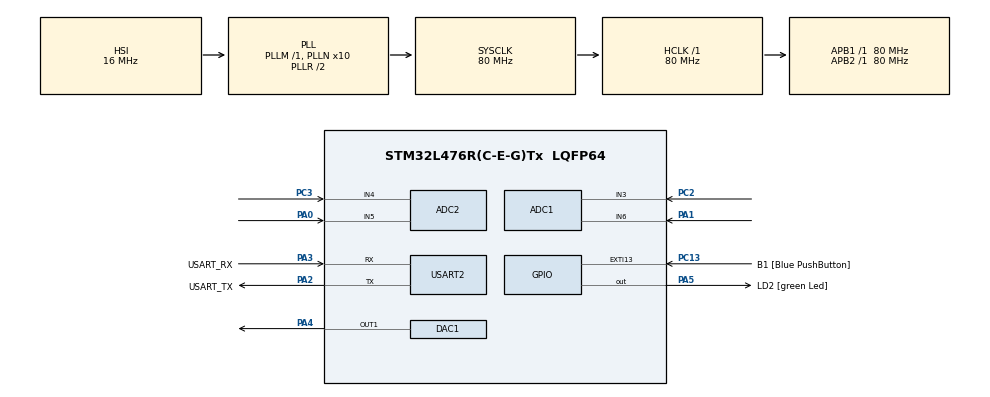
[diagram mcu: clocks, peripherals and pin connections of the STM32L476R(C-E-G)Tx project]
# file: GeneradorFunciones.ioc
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ADC1.Channel-2\#ChannelRegularConversion=ADC_CHANNEL_6
ADC1.ContinuousConvMode=ENABLE
ADC1.DMAContinuousRequests=ENABLE
ADC1.EOCSelection=ADC_EOC_SEQ_CONV
ADC1.NbrOfConversion=1
ADC1.NbrOfConversionFlag=1
ADC1.OffsetNumber-2\#ChannelRegularConversion=ADC_OFFSET_NONE
ADC1.Rank-2\#ChannelRegularConversion=1
ADC1.SamplingTime-2\#ChannelRegularConversion=ADC_SAMPLETIME_640CYCLES_5
ADC1.master=1
ADC2.Channel-2\#ChannelRegularConversion=ADC_CHANNEL_5
ADC2.ContinuousConvMode=ENABLE
ADC2.DMAContinuousRequests=ENABLE
ADC2.EOCSelection=ADC_EOC_SEQ_CONV
ADC2.NbrOfConversion=1
ADC2.NbrOfConversionFlag=1
ADC2.OffsetNumber-2\#ChannelRegularConversion=ADC_OFFSET_NONE
ADC2.Rank-2\#ChannelRegularConversion=1
ADC2.SamplingTime-2\#ChannelRegularConversion=ADC_SAMPLETIME_640CYCLES_5
DAC1.DAC_Trigger-DAC_OUT1=DAC_TRIGGER_T2_TRGO
DAC1.WaveGeneration-DAC_OUT1=DISABLE
Dma.ADC1.1.Direction=DMA_PERIPH_TO_MEMORY
Dma.ADC1.1.Instance=DMA1_Channel1
Dma.ADC1.1.MemDataAlignment=DMA_MDATAALIGN_WORD
Dma.ADC1.1.MemInc=DMA_MINC_ENABLE
Dma.ADC1.1.Mode=DMA_CIRCULAR
Dma.ADC1.1.PeriphDataAlignment=DMA_PDATAALIGN_WORD
Dma.ADC1.1.PeriphInc=DMA_PINC_DISABLE
Dma.ADC1.1.Priority=DMA_PRIORITY_LOW
Dma.ADC2.2.Direction=DMA_PERIPH_TO_MEMORY
Dma.ADC2.2.Instance=DMA1_Channel2
Dma.ADC2.2.MemDataAlignment=DMA_MDATAALIGN_WORD
Dma.ADC2.2.MemInc=DMA_MINC_ENABLE
Dma.ADC2.2.Mode=DMA_CIRCULAR
Dma.ADC2.2.PeriphDataAlignment=DMA_PDATAALIGN_WORD
Dma.ADC2.2.PeriphInc=DMA_PINC_DISABLE
Dma.ADC2.2.Priority=DMA_PRIORITY_LOW
Dma.DAC_CH1.0.Direction=DMA_MEMORY_TO_PERIPH
Dma.DAC_CH1.0.Instance=DMA1_Channel3
Dma.DAC_CH1.0.MemDataAlignment=DMA_MDATAALIGN_WORD
Dma.DAC_CH1.0.MemInc=DMA_MINC_ENABLE
Dma.DAC_CH1.0.Mode=DMA_CIRCULAR
Dma.DAC_CH1.0.PeriphDataAlignment=DMA_PDATAALIGN_WORD
Dma.DAC_CH1.0.PeriphInc=DMA_PINC_DISABLE
Dma.DAC_CH1.0.Priority=DMA_PRIORITY_LOW
Dma.Request0=DAC_CH1
Dma.Request1=ADC1
Dma.Request2=ADC2
Mcu.Family=STM32L4
Mcu.Name=STM32L476R(C-E-G)Tx
Mcu.Package=LQFP64
NVIC.DMA1_Channel1_IRQn=true\:0\:0\:false\:false\:true\:false\:true
NVIC.DMA1_Channel2_IRQn=true\:0\:0\:false\:false\:true\:false\:true
NVIC.DMA1_Channel3_IRQn=true\:0\:0\:false\:false\:true\:false\:true
NVIC.PriorityGroup=NVIC_PRIORITYGROUP_4
PA0.Signal=ADCx_IN5
PA1.Signal=ADCx_IN6
PA13\ (JTMS-SWDIO).GPIO_Label=TMS
PA13\ (JTMS-SWDIO).Mode=Serial_Wire
PA13\ (JTMS-SWDIO).Signal=SYS_JTMS-SWDIO
PA14\ (JTCK-SWCLK).GPIO_Label=TCK
PA14\ (JTCK-SWCLK).Mode=Serial_Wire
PA14\ (JTCK-SWCLK).Signal=SYS_JTCK-SWCLK
PA2.GPIO_Label=USART_TX
PA2.GPIO_Mode=GPIO_MODE_AF_PP
PA2.GPIO_PuPd=GPIO_NOPULL
PA2.GPIO_Speed=GPIO_SPEED_FREQ_VERY_HIGH
PA2.Mode=Asynchronous
PA2.Signal=USART2_TX
PA3.GPIO_Label=USART_RX
PA3.GPIO_Mode=GPIO_MODE_AF_PP
PA3.GPIO_PuPd=GPIO_NOPULL
PA3.GPIO_Speed=GPIO_SPEED_FREQ_VERY_HIGH
PA3.Mode=Asynchronous
PA3.Signal=USART2_RX
PA4.Signal=COMP_DAC11_group
PA5.GPIO_Label=LD2 [green Led]
PA5.GPIO_ModeDefaultOutputPP=GPIO_MODE_OUTPUT_PP
PA5.GPIO_PuPd=GPIO_NOPULL
PA5.GPIO_Speed=GPIO_SPEED_FREQ_LOW
PA5.Signal=GPIO_Output
PB3\ (JTDO-TRACESWO).GPIO_Label=SWO
PB3\ (JTDO-TRACESWO).Signal=SYS_JTDO-SWO
PC13.GPIO_Label=B1 [Blue PushButton]
PC13.GPIO_ModeDefaultEXTI=GPIO_MODE_IT_FALLING
PC13.GPIO_PuPd=GPIO_NOPULL
PC13.Signal=GPXTI13
PC14-OSC32_IN\ (PC14).Mode=LSE-External-Oscillator
PC14-OSC32_IN\ (PC14).Signal=RCC_OSC32_IN
PC15-OSC32_OUT\ (PC15).Mode=LSE-External-Oscillator
PC15-OSC32_OUT\ (PC15).Signal=RCC_OSC32_OUT
PC2.Signal=ADCx_IN3
PC3.Signal=ADCx_IN4
PH0-OSC_IN\ (PH0).Signal=RCC_OSC_IN
PH1-OSC_OUT\ (PH1).Signal=RCC_OSC_OUT
ProjectManager.HeapSize=0x200
ProjectManager.StackSize=0x400
ProjectManager.TargetToolchain=TrueSTUDIO
RCC.ADCFreq_Value=64000000
RCC.AHBFreq_Value=80000000
RCC.APB1Freq_Value=80000000
RCC.APB1TimFreq_Value=80000000
RCC.APB2Freq_Value=80000000
RCC.APB2TimFreq_Value=80000000
RCC.CortexFreq_Value=80000000
RCC.HCLKFreq_Value=80000000
RCC.HSE_VALUE=8000000
RCC.HSI_VALUE=16000000
RCC.MSI_VALUE=4000000
RCC.PLLN=10
RCC.PLLSourceVirtual=RCC_PLLSOURCE_HSI
RCC.PREFETCH_ENABLE=1
RCC.SYSCLKFreq_VALUE=80000000
RCC.SYSCLKSource=RCC_SYSCLKSOURCE_PLLCLK
RCC.USBFreq_Value=64000000
RCC.VCOOutputFreq_Value=160000000
SH.ADCx_IN3.0=ADC1_IN3,IN3-Single-Ended
SH.ADCx_IN4.0=ADC2_IN4,IN4-Single-Ended
SH.ADCx_IN5.0=ADC2_IN5,IN5-Single-Ended
SH.ADCx_IN6.0=ADC1_IN6,IN6-Single-Ended
SH.COMP_DAC11_group.0=DAC1_OUT1,DAC_OUT1
TIM2.Channel-Output\ Compare1\ No\ Output=TIM_CHANNEL_1
TIM2.Period=999999
TIM2.Prescaler=79
TIM2.TIM_MasterOutputTrigger=TIM_TRGO_UPDATE
USART2.VirtualMode-Asynchronous=VM_ASYNC
VP_TIM2_VS_ClockSourceINT.Mode=Internal
VP_TIM2_VS_no_output1.Mode=Output Compare1 No Output
board=NUCLEO-L476RG

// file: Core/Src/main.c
/* USER CODE BEGIN Header */
/**
  ******************************************************************************
  * @file           : main.c
  * @brief          : Main program body
  ******************************************************************************
  * @attention
  *
  * <h2><center>&copy; Copyright (c) 2020 STMicroelectronics.
  * All rights reserved.</center></h2>
  *
  * This software component is licensed by ST under BSD 3-Clause license,
  * the "License"; You may not use this file except in compliance with the
  * License. You may obtain a copy of the License at:
  *                        opensource.org/licenses/BSD-3-Clause
  *
  ******************************************************************************
  */
/* USER CODE END Header */

#include "main.h"
#include "adc.h"
#include "dac.h"
#include "dma.h"
#include "tim.h"
#include "usart.h"
#include "gpio.h"

/* USER CODE BEGIN Includes */
#include "math.h"
/* USER CODE END Includes */

/* USER CODE BEGIN PD */
#define	N	16
#define	F	150
/* USER CODE END PD */

/* USER CODE BEGIN PV */
	uint32_t	DAC_Buffer[N];
	uint32_t	TimerData;
	uint32_t	ADC_Buffer[1];
	uint32_t	ADC2_Buffer[1];
	uint32_t    Option;
/* USER CODE END PV */

void SystemClock_Config(void);

int main(void)
{
  /* USER CODE BEGIN 1 */
	Option = 0;
  /* USER CODE END 1 */

  /* MCU Configuration--------------------------------------------------------*/

  /* Reset of all peripherals, Initializes the Flash interface and the Systick. */
  HAL_Init();

  /* Configure the system clock */
  SystemClock_Config();

  /* Initialize all configured peripherals */
  MX_GPIO_Init();
  MX_DMA_Init();
  MX_DAC1_Init();
  MX_TIM2_Init();
  MX_USART2_UART_Init();
  MX_ADC1_Init();
  MX_ADC2_Init();
  /* USER CODE BEGIN 2 */
  //ADC
  HAL_ADCEx_Calibration_Start(&hadc1, ADC_SINGLE_ENDED);
  HAL_ADCEx_Calibration_Start(&hadc2, ADC_SINGLE_ENDED);
  HAL_ADC_Start_DMA(&hadc1, (uint32_t *)ADC_Buffer, 1);
  HAL_ADC_Start_DMA(&hadc2, (uint32_t *)ADC2_Buffer, 1);

//    //Funcion rampa
    /*for(int i=0; i<N; i++) {
    	if(i == 0) {
    		DAC_Buffer[i] = 2048;
    	} else {
    		DAC_Buffer[i] = DAC_Buffer[i - 1] + 2048/N;
    	}
    }
    HAL_TIM_Base_Start(&htim2);
    TimerData=(uint32_t)(80000000/(N*F));
    TIM2->ARR=TimerData;
    HAL_DAC_Start_DMA(&hdac1,DAC_CHANNEL_1,(uint32_t *)DAC_Buffer,N,DAC_ALIGN_12B_R);*/

//  //Funcion cuadrada
 /* for(int i=0; i<N; i++) {
	  if(i <= N/2-1) {
		  DAC_Buffer[i] = 2048;
	  } else {
		  DAC_Buffer[i] = 4000;
	  }
  }
  HAL_TIM_Base_Start(&htim2);
  TimerData=(uint32_t)(80000000/(N*F));
  TIM2->ARR=TimerData;
  HAL_DAC_Start_DMA(&hdac1,DAC_CHANNEL_1,(uint32_t *)DAC_Buffer,N,DAC_ALIGN_12B_R);*/

//  //Funcion senoidal
  /*for(int i=0; i<N; i++) {
	  DAC_Buffer[i]=(uint32_t)(2048+2047*sinf(2*M_PI*i/N));
  }
  HAL_TIM_Base_Start(&htim2);
  TimerData=(uint32_t)(80000000/(N*F));
  TIM2->ARR=TimerData;
  HAL_DAC_Start_DMA(&hdac1,DAC_CHANNEL_1,(uint32_t *)DAC_Buffer,N,DAC_ALIGN_12B_R);*/

//  //Funcion triangular
//  HAL_TIM_Base_Start(&htim2);
//  TimerData=(uint32_t)(80000000/(N*F));
//  TIM2->ARR=TimerData;
//  HAL_DAC_Start(&hdac1,DAC_CHANNEL_1);
//  HAL_DACEx_TriangleWaveGenerate(&hdac1,DAC_CHANNEL_1,DAC_TRIANGLEAMPLITUDE_31);

  //Funcion triangulo test

	/*for(int i=0; i<N; i++) {
		if(i == 0) {
			DAC_Buffer[i] = 2048;
		} else if(i >= 1 && i < N/2) {
			DAC_Buffer[i] = DAC_Buffer[i - 1] + (2048/N)*2;
		} else if(i == N/2) {
			DAC_Buffer[i] = 4095;
		} else {
			DAC_Buffer[i] = DAC_Buffer[i - 1] - (2048/N)*2;
		}
	}
    HAL_TIM_Base_Start(&htim2);
    TimerData=(uint32_t)(80000000/(N*F));
    TIM2->ARR=TimerData;
    HAL_DAC_Start_DMA(&hdac1,DAC_CHANNEL_1,(uint32_t *)DAC_Buffer,N,DAC_ALIGN_12B_R);*/

  /* USER CODE END 2 */

  /* Infinite loop */
  /* USER CODE BEGIN WHILE */

  while (1)
  {
	  if(Option == 4){
		  Option = 0;
	  }
	  if(HAL_GPIO_ReadPin(GPIOC, B1_Pin)){
	  	  HAL_GPIO_WritePin(LD2_GPIO_Port, LD2_Pin, GPIO_PIN_RESET);
	    }
	  else{
		  HAL_GPIO_WritePin(LD2_GPIO_Port, LD2_Pin, GPIO_PIN_SET);
		  HAL_Delay(500);
		  Option = Option + 1;

	  }

	  //cambiar el tipo de grafica
	  switch (Option) {
		case 0:
			Rampa();
			break;
		case 1:
			Cuadrada();
			break;
		case 2:
			Senoidal();
			break;
		case 3:
			Triangular();
			break;
		default:
			break;
	}
    /* USER CODE END WHILE */

  }
}

void SystemClock_Config(void)
{
  RCC_OscInitTypeDef RCC_OscInitStruct = {0};
  RCC_ClkInitTypeDef RCC_ClkInitStruct = {0};
  RCC_PeriphCLKInitTypeDef PeriphClkInit = {0};

  /** Initializes the CPU, AHB and APB busses clocks
  */
  RCC_OscInitStruct.OscillatorType = RCC_OSCILLATORTYPE_HSI;
  RCC_OscInitStruct.HSIState = RCC_HSI_ON;
  RCC_OscInitStruct.HSICalibrationValue = RCC_HSICALIBRATION_DEFAULT;
  RCC_OscInitStruct.PLL.PLLState = RCC_PLL_ON;
  RCC_OscInitStruct.PLL.PLLSource = RCC_PLLSOURCE_HSI;
  RCC_OscInitStruct.PLL.PLLM = 1;
  RCC_OscInitStruct.PLL.PLLN = 10;
  RCC_OscInitStruct.PLL.PLLP = RCC_PLLP_DIV7;
  RCC_OscInitStruct.PLL.PLLQ = RCC_PLLQ_DIV2;
  RCC_OscInitStruct.PLL.PLLR = RCC_PLLR_DIV2;
  if (HAL_RCC_OscConfig(&RCC_OscInitStruct) != HAL_OK)
  {
    Error_Handler();
  }
  /** Initializes the CPU, AHB and APB busses clocks
  */
  RCC_ClkInitStruct.ClockType = RCC_CLOCKTYPE_HCLK|RCC_CLOCKTYPE_SYSCLK
                              |RCC_CLOCKTYPE_PCLK1|RCC_CLOCKTYPE_PCLK2;
  RCC_ClkInitStruct.SYSCLKSource = RCC_SYSCLKSOURCE_PLLCLK;
  RCC_ClkInitStruct.AHBCLKDivider = RCC_SYSCLK_DIV1;
  RCC_ClkInitStruct.APB1CLKDivider = RCC_HCLK_DIV1;
  RCC_ClkInitStruct.APB2CLKDivider = RCC_HCLK_DIV1;

  if (HAL_RCC_ClockConfig(&RCC_ClkInitStruct, FLASH_LATENCY_4) != HAL_OK)
  {
    Error_Handler();
  }
  PeriphClkInit.PeriphClockSelection = RCC_PERIPHCLK_USART2|RCC_PERIPHCLK_ADC;
  PeriphClkInit.Usart2ClockSelection = RCC_USART2CLKSOURCE_PCLK1;
  PeriphClkInit.AdcClockSelection = RCC_ADCCLKSOURCE_PLLSAI1;
  PeriphClkInit.PLLSAI1.PLLSAI1Source = RCC_PLLSOURCE_HSI;
  PeriphClkInit.PLLSAI1.PLLSAI1M = 1;
  PeriphClkInit.PLLSAI1.PLLSAI1N = 8;
  PeriphClkInit.PLLSAI1.PLLSAI1P = RCC_PLLP_DIV7;
  PeriphClkInit.PLLSAI1.PLLSAI1Q = RCC_PLLQ_DIV2;
  PeriphClkInit.PLLSAI1.PLLSAI1R = RCC_PLLR_DIV2;
  PeriphClkInit.PLLSAI1.PLLSAI1ClockOut = RCC_PLLSAI1_ADC1CLK;
  if (HAL_RCCEx_PeriphCLKConfig(&PeriphClkInit) != HAL_OK)
  {
    Error_Handler();
  }
  /** Configure the main internal regulator output voltage
  */
  if (HAL_PWREx_ControlVoltageScaling(PWR_REGULATOR_VOLTAGE_SCALE1) != HAL_OK)
  {
    Error_Handler();
  }
}

/* USER CODE BEGIN 4 */

//funcion rampa
void Rampa(){
	for(int i=0; i<N; i++) {
	    	if(i == 0) {
	    		DAC_Buffer[i] = 2048;
	    	} else {
	    		DAC_Buffer[i] = DAC_Buffer[i - 1] + 2048/N;
	    	}
	    }
	    HAL_TIM_Base_Start(&htim2);
	    TimerData=(uint32_t)(80000000/(N*F));
	    TIM2->ARR=TimerData;
	    HAL_DAC_Start_DMA(&hdac1,DAC_CHANNEL_1,(uint32_t *)DAC_Buffer,N,DAC_ALIGN_12B_R);
}

//funcion cuadrada
void Cuadrada(){
	 for(int i=0; i<N; i++) {
		  if(i <= N/2-1) {
			  DAC_Buffer[i] = 2048;
		  } else {
			  DAC_Buffer[i] = 4000;
		  }
	  }
	  HAL_TIM_Base_Start(&htim2);
	  TimerData=(uint32_t)(80000000/(N*F));
	  TIM2->ARR=TimerData;
	  HAL_DAC_Start_DMA(&hdac1,DAC_CHANNEL_1,(uint32_t *)DAC_Buffer,N,DAC_ALIGN_12B_R);
}

//funcion senoidal
void Senoidal(){
	for(int i=0; i<N; i++) {
		  DAC_Buffer[i]=(uint32_t)(2048+2047*sinf(2*M_PI*i/N));
	  }
	  HAL_TIM_Base_Start(&htim2);
	  TimerData=(uint32_t)(80000000/(N*F));
	  TIM2->ARR=TimerData;
	  HAL_DAC_Start_DMA(&hdac1,DAC_CHANNEL_1,(uint32_t *)DAC_Buffer,N,DAC_ALIGN_12B_R);
}

//funcion triangular
void Triangular(){
	for(int i=0; i<N; i++) {
			if(i == 0) {
				DAC_Buffer[i] = 2048;
			} else if(i >= 1 && i < N/2) {
				DAC_Buffer[i] = DAC_Buffer[i - 1] + (2048/N)*2;
			} else if(i == N/2) {
				DAC_Buffer[i] = 4095;
			} else {
				DAC_Buffer[i] = DAC_Buffer[i - 1] - (2048/N)*2;
			}
		}
	    HAL_TIM_Base_Start(&htim2);
	    TimerData=(uint32_t)(80000000/(N*F));
	    TIM2->ARR=TimerData;
	    HAL_DAC_Start_DMA(&hdac1,DAC_CHANNEL_1,(uint32_t *)DAC_Buffer,N,DAC_ALIGN_12B_R);
}

/* USER CODE END 4 */

void Error_Handler(void)
{
}

/************************ (C) COPYRIGHT STMicroelectronics *****END OF FILE****/
